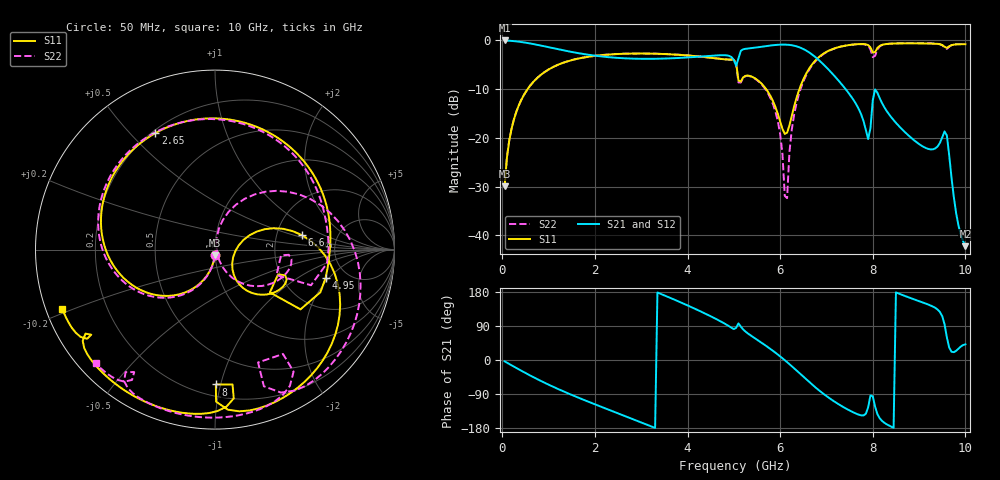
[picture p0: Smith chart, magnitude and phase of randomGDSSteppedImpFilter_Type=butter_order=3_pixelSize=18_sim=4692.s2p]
! freq	dB(S11)	phase(S11)	dB(S12)	phase(S12)
!  dB(S21)	phase(S21)	dB(S22)	phase(S22)
!S-par simulation data
#  GHz  S  DB  R 50
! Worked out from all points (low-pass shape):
!   200 points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, 50 MHz to 10 GHz, reference 50 ohm
!   highest |S21| = -0.02 dB at 50 MHz (marker M1); lowest = -42.2 dB at 10 GHz (marker M2)
!   |S21| within 3 dB of the highest: start of sweep to 1.907 GHz; 5.122 GHz to 6.706 GHz (1.584 GHz wide, 26.8 % of centre)
!   lowest |S11| = -30.0 dB at 50 MHz (marker M3), VSWR 1.07, Z = 49.8 - j3.16 ohm
!   |S11| at or under -10 dB: start of sweep to 546.8 MHz; 5.697 GHz to 6.417 GHz (719.9 MHz wide, 11.9 % of centre)
!   |S22| runs from -32.4 to -0.6 dB; largest |S21 - S12| = 0
!   S11 on the Smith chart (normalised r, x): 50 MHz: 1.00, -0.06; 2.65 GHz: 0.21, +0.59; 4.95 GHz: 3.45, -1.84; 6.6 GHz: 2.78, +0.59; 8 GHz: 0.28, -0.97; 10 GHz: 0.05, -0.19
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0.05  -29.96 -92.0  -0.02 -3.6  -0.02 -3.6  -29.96 -91.9
0.2  -18.12 -103.8  -0.11 -14.0  -0.11 -14.0  -18.12 -103.2
0.5  -10.67 -125.1  -0.47 -34.3  -0.47 -34.3  -10.67 -123.6
1.75  -3.53 162.0  -2.79 -104.8  -2.79 -104.8  -3.52 167.6
2.65  -2.74 117.1  -3.69 -147.8  -3.69 -147.8  -2.73 126.4
3.4  -2.77 79.1  -3.76 175.6  -3.76 175.6  -2.76 91.6
4.95  -3.93 -14.4  -3.43 85.0  -3.43 85.0  -3.96 1.0
5.05  -4.72 -35.0  -5.24 85.0  -5.24 85.0  -4.87 -20.4
5.25  -7.28 -22.5  -1.74 75.1  -1.74 75.1  -7.34 -7.1
5.85  -12.58 -55.1  -0.99 23.8  -0.99 23.8  -13.21 -54.3
6.15  -18.93 -5.0  -0.89 -5.6  -0.89 -5.6  -32.37 71.5
6.3  -13.62 22.6  -1.09 -21.8  -1.09 -21.8  -15.33 75.1
6.6  -6.20 9.6  -2.31 -55.0  -2.31 -55.0  -6.47 43.6
6.7  -4.81 1.3  -2.98 -65.8  -2.98 -65.8  -5.00 33.0
7.3  -1.29 -45.9  -8.69 -119.5  -8.69 -119.5  -1.31 -20.9
7.9  -0.97 -85.4  -20.25 -124.9  -20.25 -124.9  -1.14 -65.2
8  -2.48 -89.6  -12.28 -95.8  -12.28 -95.8  -3.44 -69.1
8.1  -1.56 -82.8  -10.74 -142.9  -10.74 -142.9  -1.85 -57.2
8.35  -0.70 -97.1  -15.16 -173.0  -15.16 -173.0  -0.69 -74.2
9.2  -0.64 -132.5  -22.28 146.3  -22.28 146.3  -0.60 -111.3
9.55  -1.31 -147.0  -18.68 94.2  -18.68 94.2  -1.46 -126.1
10  -0.80 -158.9  -42.22 41.3  -42.22 41.3  -0.74 -136.4
